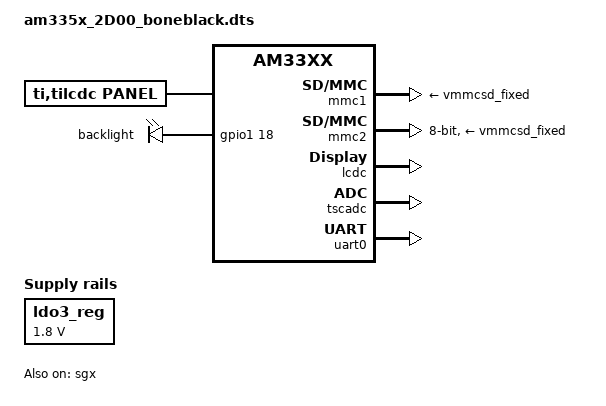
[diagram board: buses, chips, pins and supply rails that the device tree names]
/*
 * Copyright (C) 2012 Texas Instruments Incorporated - http://www.ti.com/
 *
 * This program is free software; you can redistribute it and/or modify
 * it under the terms of the GNU General Public License version 2 as
 * published by the Free Software Foundation.
 */
/dts-v1/;

#include "am33xx.dtsi"
#include "am335x-bone-common.dtsi"

&ldo3_reg {
    regulator-min-microvolt = <1800000>;
    regulator-max-microvolt = <1800000>;
    regulator-always-on;
};

&sgx {
    status = "okay";
};

&mmc1 {
    vmmc-supply = <&vmmcsd_fixed>;
};

&mmc2 {
    vmmc-supply = <&vmmcsd_fixed>;
    pinctrl-names = "default";
    pinctrl-0 = <&emmc_pins>;
    bus-width = <8>;
    status = "okay";
    ti,vcc-aux-disable-is-sleep;
};

/* Common pinmux */
&am33xx_pinmux {
    uart0_pins: pinmux_uart0_pins {
        pinctrl-single,pins = <
            0x170 (PIN_INPUT_PULLUP | MUX_MODE0)	/* uart0_rxd.uart0_rxd */
            0x174 (PIN_OUTPUT_PULLDOWN | MUX_MODE0)	/* uart0_txd.uart0_txd */
        >;
    };
    
    lcd_pins_default: lcd_pins_default {
        pinctrl-single,pins = <
            0xa0 (PIN_OUTPUT | MUX_MODE0)   /* lcd_data0.lcd_data0 */
            0xa4 (PIN_OUTPUT | MUX_MODE0)   /* lcd_data1.lcd_data1 */
            0xa8 (PIN_OUTPUT | MUX_MODE0)   /* lcd_data2.lcd_data2 */
            0xac (PIN_OUTPUT | MUX_MODE0)   /* lcd_data3.lcd_data3 */
            0xb0 (PIN_OUTPUT | MUX_MODE0)   /* lcd_data4.lcd_data4 */
            0xb4 (PIN_OUTPUT | MUX_MODE0)   /* lcd_data5.lcd_data5 */
            0xb8 (PIN_OUTPUT | MUX_MODE0)   /* lcd_data6.lcd_data6 */
            0xbc (PIN_OUTPUT | MUX_MODE0)   /* lcd_data7.lcd_data7 */
            0xc0 (PIN_OUTPUT | MUX_MODE0)   /* lcd_data8.lcd_data8 */
            0xc4 (PIN_OUTPUT | MUX_MODE0)   /* lcd_data9.lcd_data9 */
            0xc8 (PIN_OUTPUT | MUX_MODE0)   /* lcd_data10.lcd_data10 */
            0xcc (PIN_OUTPUT | MUX_MODE0)   /* lcd_data11.lcd_data11 */
            0xd0 (PIN_OUTPUT | MUX_MODE0)   /* lcd_data12.lcd_data12 */
            0xd4 (PIN_OUTPUT | MUX_MODE0)   /* lcd_data13.lcd_data13 */
            0xd8 (PIN_OUTPUT | MUX_MODE0)   /* lcd_data14.lcd_data14 */
            0xdc (PIN_OUTPUT | MUX_MODE0)   /* lcd_data15.lcd_data15 */
            0xe0 (PIN_OUTPUT | MUX_MODE0)   /* lcd_vsync.lcd_vsync */
            0xe4 (PIN_OUTPUT | MUX_MODE0)   /* lcd_hsync.lcd_hsync */
            0xe8 (PIN_OUTPUT | MUX_MODE0)   /* lcd_pclk.lcd_pclk */
            0xec (PIN_OUTPUT | MUX_MODE0)   /* lcd_ac_bias_en.lcd_ac_bias_en */
        >;
    };

    lcd_pins_sleep: lcd_pins_sleep {
        pinctrl-single,pins = <
            0xa0 (PULL_DISABLE | MUX_MODE7) /* lcd_data0.lcd_data0 */
            0xa4 (PULL_DISABLE | MUX_MODE7) /* lcd_data1.lcd_data1 */
            0xa8 (PULL_DISABLE | MUX_MODE7) /* lcd_data2.lcd_data2 */
            0xac (PULL_DISABLE | MUX_MODE7) /* lcd_data3.lcd_data3 */
            0xb0 (PULL_DISABLE | MUX_MODE7) /* lcd_data4.lcd_data4 */
            0xb4 (PULL_DISABLE | MUX_MODE7) /* lcd_data5.lcd_data5 */
            0xb8 (PULL_DISABLE | MUX_MODE7) /* lcd_data6.lcd_data6 */
            0xbc (PULL_DISABLE | MUX_MODE7) /* lcd_data7.lcd_data7 */
            0xc0 (PULL_DISABLE | MUX_MODE7) /* lcd_data8.lcd_data8 */
            0xc4 (PULL_DISABLE | MUX_MODE7) /* lcd_data9.lcd_data9 */
            0xc8 (PULL_DISABLE | MUX_MODE7) /* lcd_data10.lcd_data10 */
            0xcc (PULL_DISABLE | MUX_MODE7) /* lcd_data11.lcd_data11 */
            0xd0 (PULL_DISABLE | MUX_MODE7) /* lcd_data12.lcd_data12 */
            0xd4 (PULL_DISABLE | MUX_MODE7) /* lcd_data13.lcd_data13 */
            0xd8 (PULL_DISABLE | MUX_MODE7) /* lcd_data14.lcd_data14 */
            0xdc (PULL_DISABLE | MUX_MODE7) /* lcd_data15.lcd_data15 */
            0xe0 (PIN_INPUT_PULLDOWN | MUX_MODE7)   /* lcd_vsync.lcd_vsync */
            0xe4 (PIN_INPUT_PULLDOWN | MUX_MODE7)   /* lcd_hsync.lcd_hsync */
            0xe8 (PIN_INPUT_PULLDOWN | MUX_MODE7)   /* lcd_pclk.lcd_pclk */
            0xec (PIN_INPUT_PULLDOWN | MUX_MODE7)   /* lcd_ac_bias_en.lcd_ac_bias_en */
        >;
    };

        led_bl_pins: gpio_led_bl_pins {
        pinctrl-single,pins = <
            0x48  (PIN_OUTPUT | MUX_MODE7)  /* P9_14, gpmc_a[2].GPIO1[18] (backlight control) */
        >;
    };
    lcd_disen_pins: lcd_disen_pins {
        pinctrl-single,pins = <
            0x150 (PIN_OUTPUT_PULLUP | MUX_MODE7)	/* spi0_sclk.gpio0_2, OUTPUT | MODE7 - AVDD_EN */
        >;
    };

};

&lcdc {
    status = "okay";
};

/* touch screen */
&tscadc {
        status = "okay";
        tsc {
                ti,wires = <4>;
                ti,x-plate-resistance = <200>;
                ti,coordinate-readouts = <5>;
                ti,wire-config = <0x00 0x11 0x22 0x33>;
                        /*ti,charge-delay = <0xb000>;*/
        };

        adc {
            ti,adc-channels = <4 5 6 7>;
        };
    };

/* 7.0" 4D systems LCD */
/ {
    panel {
        compatible = "ti,tilcdc,panel";
        pinctrl-names = "default", "sleep";
        pinctrl-0 = <&lcd_pins_default &lcd_disen_pins>;
        pinctrl-1 = <&lcd_pins_sleep>;
        status = "okay";
        panel-info {
            ac-bias           = <255>;
            ac-bias-intrpt    = <0>;
            dma-burst-sz      = <16>;
            bpp               = <16>;
            fdd               = <0x80>;
            sync-edge         = <0>;
            sync-ctrl         = <1>;
            raster-order      = <0>;
            fifo-th           = <0>;
        };
        display-timings {
            800x480 {
                clock-frequency = <30000000>;
                hactive         = <800>;
                vactive         = <480>;
                hback-porch     = <40>;
                hfront-porch    = <40>; 
                hsync-len       = <48>;
                vback-porch     = <30>;
                vfront-porch    = <13>;
                vsync-len       = <3>;
                hsync-active    = <0>;
                vsync-active    = <0>;
                de-active = <1>;
                pixelclk-active = <0>;
            };
        };
    };

/* backlight */
        backlight {
        status = "okay";
        compatible = "gpio-leds";
        pinctrl-names = "default";
                pinctrl-0 = <&led_bl_pins>;
        backlight {
            label = "backlight";
            gpios = <&gpio1 18 GPIO_ACTIVE_HIGH>;
            default-state = "on";
        };
    };

};

&uart0 {
    pinctrl-names = "default";
    pinctrl-0 = <&uart0_pins>;
    status = "okay";
};

